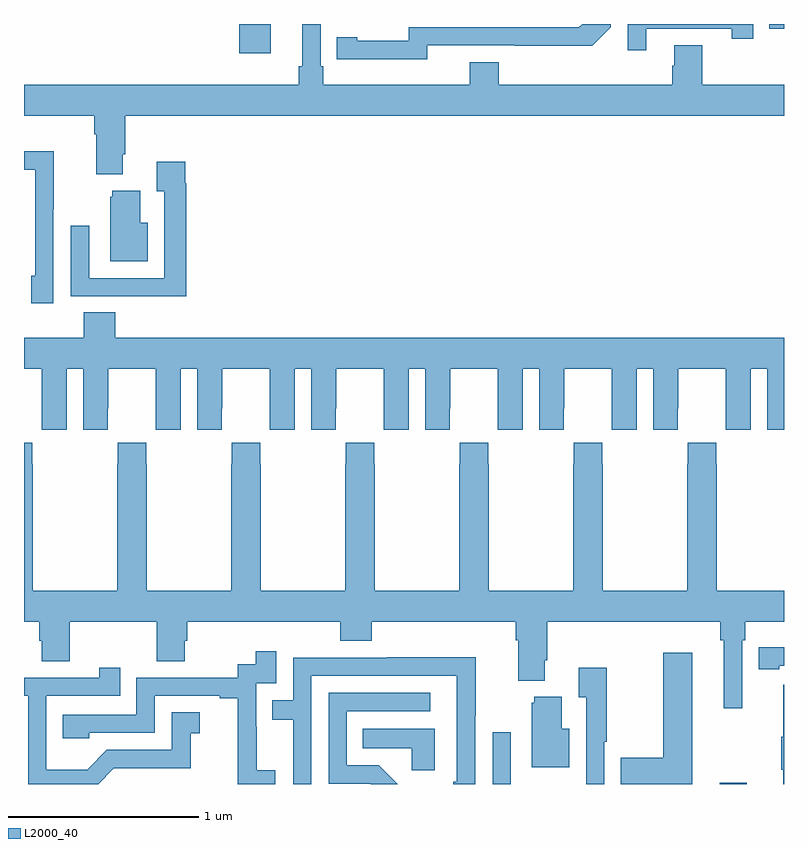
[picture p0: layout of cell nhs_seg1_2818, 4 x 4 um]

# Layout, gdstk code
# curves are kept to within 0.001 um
import gdstk
lib = gdstk.Library(unit=1e-6, precision=1e-09)
def R(c, l, rs):  # rectangles x0, y0, x1, y1
    for r in rs: c.add(gdstk.rectangle(r[:2], r[2:], *l))
def P(c, l, *ps):  # polygons
    for p in ps: c.add(gdstk.Polygon(p, *l))
L2000_40 = (2000, 40)

nhs_seg1_2818 = lib.new_cell('nhs_seg1_2818')
R(nhs_seg1_2818, L2000_40, [(265.467,564.199,265.563,564.472), (266.663,564.199,266.803,564.205), (264.134,568.044,264.298,568.199), (266.922,568.173,267,568.199)])
P(nhs_seg1_2818, L2000_40, [(265.122,568.086),(265.99,568.085),(266.088,568.182),(266.088,568.199),(265.937,568.199),(265.92,568.182),(265.026,568.182),(265.026,568.11),(264.754,568.11),(264.754,568.13),(264.646,568.13),(264.646,568.014),(265.122,568.013)],
  [(266.275,568.173),(266.726,568.173),(266.726,568.122),(266.837,568.122),(266.837,568.199),(266.178,568.199),(266.178,568.062),(266.275,568.062)],
  [(267,567.88),(266.571,567.88),(266.571,568.088),(266.423,568.088),(266.423,567.978),(266.411,567.978),(266.411,567.88),(265.499,567.88),(265.499,567.997),(265.346,567.997),(265.346,567.88),(264.575,567.88),(264.575,567.976),(264.561,567.976),(264.561,568.199),(264.464,568.199),(264.464,567.976),(264.445,567.976),(264.445,567.88),(263,567.88),(263,567.716),(263.369,567.716),(263.369,567.62),(263.381,567.62),(263.381,567.407),(263.521,567.407),(263.521,567.514),(263.534,567.514),(263.534,567.716),(267,567.716)],
  [(263.154,567.223),(263.157,567.223),(263.157,567.53),(263,567.53),(263,567.432),(263.058,567.432),(263.058,566.874),(263.039,566.874),(263.039,566.73),(263.154,566.73)],
  [(263.855,567.362),(263.848,567.362),(263.848,567.475),(263.699,567.475),(263.699,567.319),(263.739,567.319),(263.739,566.862),(263.343,566.862),(263.343,567.136),(263.247,567.136),(263.247,566.766),(263.563,566.766),(263.563,566.765),(263.855,566.765)],
  [(263.65,567.154),(263.611,567.154),(263.611,567.322),(263.465,567.322),(263.465,567.291),(263.453,567.291),(263.453,566.951),(263.65,566.951)],
  [(263.48,566.681),(263.315,566.681),(263.315,566.548),(263,566.548),(263,566.384),(263.093,566.384),(263.093,566.176),(263.094,566.176),(263.094,566.064),(263.224,566.064),(263.224,566.384),(263.312,566.384),(263.312,566.064),(263.442,566.064),(263.442,566.176),(263.443,566.176),(263.443,566.384),(263.693,566.384),(263.693,566.176),(263.694,566.176),(263.694,566.064),(263.824,566.064),(263.824,566.384),(263.912,566.384),(263.912,566.064),(264.042,566.064),(264.042,566.176),(264.043,566.176),(264.043,566.384),(264.293,566.384),(264.293,566.176),(264.294,566.176),(264.294,566.064),(264.424,566.064),(264.424,566.384),(264.512,566.384),(264.512,566.064),(264.642,566.064),(264.642,566.176),(264.643,566.176),(264.643,566.384),(264.893,566.384),(264.893,566.176),(264.894,566.176),(264.894,566.064),(265.024,566.064),(265.024,566.384),(265.112,566.384),(265.112,566.064),(265.242,566.064),(265.242,566.176),(265.243,566.176),(265.243,566.384),(265.493,566.384),(265.493,566.176),(265.494,566.176),(265.494,566.064),(265.624,566.064),(265.624,566.384),(265.712,566.384),(265.712,566.064),(265.842,566.064),(265.842,566.176),(265.843,566.176),(265.843,566.384),(266.093,566.384),(266.093,566.176),(266.094,566.176),(266.094,566.064),(266.224,566.064),(266.224,566.384),(266.312,566.384),(266.312,566.064),(266.442,566.064),(266.442,566.176),(266.443,566.176),(266.443,566.384),(266.693,566.384),(266.693,566.176),(266.694,566.176),(266.694,566.064),(266.824,566.064),(266.824,566.384),(266.912,566.384),(266.912,566.064),(267,566.064),(267,566.548),(263.48,566.548)],
  [(266.781,564.956),(266.795,564.956),(266.795,565.052),(267,565.052),(267,565.216),(266.646,565.216),(266.646,565.883),(266.643,565.883),(266.643,565.996),(266.493,565.996),(266.493,565.883),(266.491,565.883),(266.491,565.216),(266.046,565.216),(266.046,565.883),(266.043,565.883),(266.043,565.996),(265.893,565.996),(265.893,565.883),(265.891,565.883),(265.891,565.216),(265.446,565.216),(265.446,565.883),(265.443,565.883),(265.443,565.996),(265.293,565.996),(265.293,565.883),(265.291,565.883),(265.291,565.216),(264.846,565.216),(264.846,565.883),(264.843,565.883),(264.843,565.996),(264.693,565.996),(264.693,565.883),(264.691,565.883),(264.691,565.216),(264.246,565.216),(264.246,565.883),(264.243,565.883),(264.243,565.996),(264.093,565.996),(264.093,565.883),(264.091,565.883),(264.091,565.216),(263.646,565.216),(263.646,565.883),(263.643,565.883),(263.643,565.996),(263.493,565.996),(263.493,565.883),(263.491,565.883),(263.491,565.216),(263.046,565.216),(263.046,565.883),(263.043,565.883),(263.043,565.996),(263,565.996),(263,565.052),(263.081,565.052),(263.081,564.954),(263.093,564.954),(263.093,564.844),(263.241,564.844),(263.241,565.052),(263.698,565.052),(263.698,564.844),(263.845,564.844),(263.845,564.954),(263.858,564.954),(263.858,565.052),(264.665,565.052),(264.665,564.953),(264.83,564.953),(264.83,565.052),(265.589,565.052),(265.589,564.956),(265.601,564.956),(265.601,564.743),(265.741,564.743),(265.741,564.85),(265.754,564.85),(265.754,565.052),(266.665,565.052),(266.665,564.956),(266.684,564.956),(266.684,564.597),(266.781,564.597)],
  [(266.974,564.822),(267,564.822),(267,564.919),(266.974,564.919),(266.974,564.918),(266.866,564.918),(266.866,564.802),(266.974,564.802)],
  [(264.322,564.271),(264.224,564.271),(264.224,564.5),(264.222,564.5),(264.222,564.729),(264.327,564.729),(264.327,564.898),(264.219,564.898),(264.219,564.828),(264.126,564.828),(264.126,564.759),(263.592,564.759),(263.592,564.564),(263.203,564.564),(263.203,564.441),(263.343,564.441),(263.343,564.468),(263.688,564.468),(263.688,564.663),(264.029,564.663),(264.029,564.651),(264.125,564.651),(264.125,564.367),(264.124,564.367),(264.124,564.199),(264.322,564.199)],
  [(266.518,564.889),(266.365,564.889),(266.365,564.338),(266.142,564.338),(266.142,564.199),(266.518,564.199)],
  [(264.513,564.768),(265.278,564.768),(265.278,564.21),(265.259,564.21),(265.259,564.199),(265.374,564.199),(265.374,564.559),(265.377,564.559),(265.377,564.866),(264.913,564.866),(264.913,564.864),(264.417,564.864),(264.417,564.639),(264.307,564.639),(264.307,564.538),(264.417,564.538),(264.417,564.199),(264.513,564.199)],
  [(263.473,564.282),(263.877,564.282),(263.877,564.467),(263.926,564.467),(263.926,564.577),(263.778,564.577),(263.778,564.378),(263.436,564.378),(263.332,564.274),(263.118,564.274),(263.118,564.663),(263.507,564.663),(263.507,564.811),(263.396,564.811),(263.396,564.759),(263,564.759),(263,564.663),(263.022,564.663),(263.022,564.199),(263.39,564.199)],
  [(266.055,564.421),(266.068,564.421),(266.068,564.811),(265.919,564.811),(265.919,564.655),(265.959,564.655),(265.959,564.199),(266.055,564.199)],
  [(267,564.721),(266.996,564.721),(266.996,564.449),(266.985,564.449),(266.985,564.275),(266.996,564.275),(266.996,564.199),(267,564.199)],
  [(264.868,564.297),(264.699,564.297),(264.699,564.582),(265.138,564.582),(265.138,564.678),(264.603,564.678),(264.603,564.201),(264.822,564.201),(264.824,564.199),(264.966,564.199)],
  [(265.87,564.49),(265.831,564.49),(265.831,564.658),(265.685,564.658),(265.685,564.627),(265.673,564.627),(265.673,564.287),(265.87,564.287)],
  [(265.162,564.49),(264.784,564.49),(264.784,564.386),(265.041,564.386),(265.041,564.271),(265.162,564.271)])

lib.write_gds('nhs_seg1_2818.gds')
